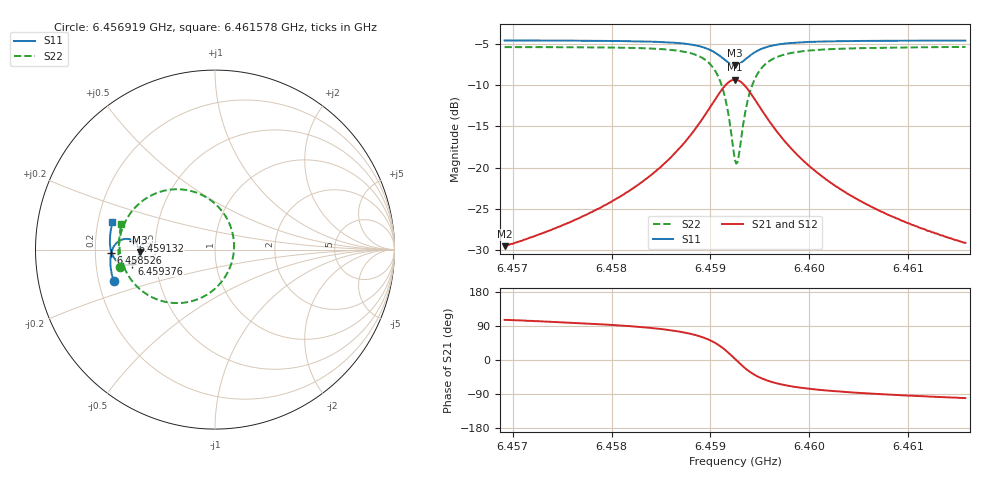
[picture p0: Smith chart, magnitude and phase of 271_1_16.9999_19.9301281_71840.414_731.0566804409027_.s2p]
#  HZ  S  RI  R  50.00
! Rohde & Schwarz Vector Network Analyzer
! Rohde-Schwarz,ZNB20-2Port,1311601062101988,3.16
! Created: UTC 3/20/2024, 11:04:11 PM
! freq[Hz]  re:S11  im:S11  re:S21  im:S21  re:S12  im:S12  re:S22  im:S22
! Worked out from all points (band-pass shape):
!   401 points, 6.456919 GHz to 6.461578 GHz, reference 50 ohm
!   highest |S21| = -9.31 dB at 6.459248 GHz (marker M1); lowest = -29.5 dB at 6.456919 GHz (marker M2)
!   |S21| within 3 dB of the highest: 6.459015 GHz to 6.459481 GHz (466 kHz wide, 0.00722 % of centre)
!   lowest |S11| = -7.5 dB at 6.459248 GHz (marker M3), VSWR 2.45, Z = 20.4 - j0.625 ohm
!   |S11| at or under -10 dB: nowhere
!   |S22| runs from -19.5 to -5.3 dB; largest |S21 - S12| = 0.013
!   S11 on the Smith chart (normalised r, x): 6.456919 GHz: 0.26, -0.14; 6.458526 GHz: 0.27, -0.01; 6.459132 GHz: 0.37, +0.05; 6.459376 GHz: 0.37, -0.07; 6.461578 GHz: 0.26, +0.12
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6.456919e9  -0.5651 -0.1773  -0.00913 0.032  -0.00738 0.032  -0.5311 -0.0946
6.4576993e9  -0.5799 -0.1093  -0.00597 0.05  -0.00352 0.0493  -0.538 -0.00391
6.4580953e9  -0.5831 -0.0702  -0.000978 0.0672  0.00215 0.0659  -0.5318 0.0575
6.4584796e9  -0.5796 -0.025  0.0133 0.098  0.0172 0.0954  -0.5064 0.1419
6.4585262e9  -0.5783 -0.0187  0.0166 0.1035  0.0206 0.1004  -0.5001 0.1551
6.4587358e9  -0.5663 0.0132  0.0424 0.135  0.0465 0.1303  -0.452 0.227
6.4588872e9  -0.5453 0.0395  0.0845 0.1654  0.088 0.1589  -0.3744 0.2916
6.4590386e9  -0.4995 0.0594  0.1756 0.1847  0.1769 0.1773  -0.2075 0.3363
6.4591318e9  -0.4553 0.0496  0.2651 0.1541  0.2653 0.1482  -0.0418 0.2873
6.4591784e9  -0.4344 0.031  0.3086 0.1117  0.3099 0.1065  0.0409 0.212
6.4592483e9  -0.4197 -0.0126  0.3419 0.0159  0.3455 0.00892  0.1059 0.0339
6.4592599e9  -0.4201 -0.0206  0.3417 -0.00176  0.3455 -0.00935  0.1058 0.000685
6.4592832e9  -0.4235 -0.036  0.3363 -0.036  0.3402 -0.0451  0.0951 -0.0646
6.4593298e9  -0.4388 -0.0617  0.3085 -0.0956  0.3105 -0.1072  0.0386 -0.1769
6.4593764e9  -0.4607 -0.0778  0.267 -0.1363  0.2661 -0.1494  -0.0453 -0.2515
6.4594696e9  -0.5036 -0.0845  0.1833 -0.1675  0.1771 -0.179  -0.2121 -0.2979
6.459621e9  -0.547 -0.0642  0.0962 -0.1545  0.0878 -0.1606  -0.3785 -0.2501
6.459784e9  -0.5684 -0.0366  0.0516 -0.1271  0.0441 -0.1299  -0.4589 -0.1788
6.4600286e9  -0.581 -0.00115  0.0226 -0.0961  0.0168 -0.0967  -0.5069 -0.0971
6.460378e9  -0.5856 0.0401  0.00653 -0.0696  0.00253 -0.0692  -0.5288 -0.018
6.4608089e9  -0.5838 0.0831  -0.00123 -0.0514  -0.00409 -0.0505  -0.5334 0.0502
6.4615775e9  -0.5715 0.1511  -0.00639 -0.0343  -0.00804 -0.0333  -0.5224 0.1407
